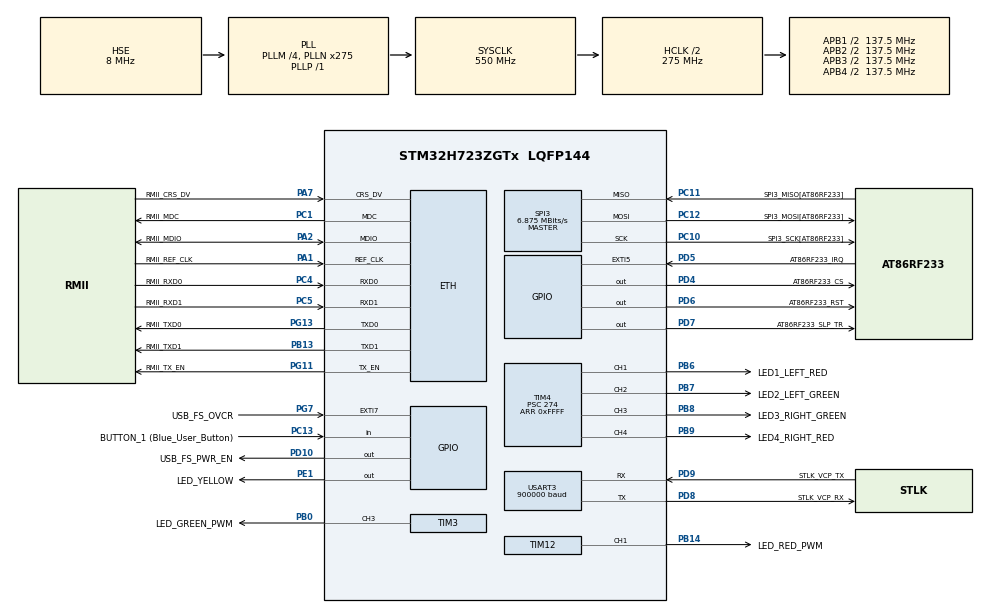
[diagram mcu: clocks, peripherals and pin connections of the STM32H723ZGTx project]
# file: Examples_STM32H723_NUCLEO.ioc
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CORTEX_M7.AccessPermission-Cortex_Memory_Protection_Unit_Region0_Settings=MPU_REGION_FULL_ACCESS
CORTEX_M7.AccessPermission-Cortex_Memory_Protection_Unit_Region1_Settings=MPU_REGION_FULL_ACCESS
CORTEX_M7.BaseAddress-Cortex_Memory_Protection_Unit_Region0_Settings=0x30000000
CORTEX_M7.BaseAddress-Cortex_Memory_Protection_Unit_Region1_Settings=0x24000000
CORTEX_M7.CPU_DCache=Enabled
CORTEX_M7.CPU_ICache=Enabled
CORTEX_M7.DisableExec-Cortex_Memory_Protection_Unit_Region0_Settings=MPU_INSTRUCTION_ACCESS_DISABLE
CORTEX_M7.DisableExec-Cortex_Memory_Protection_Unit_Region1_Settings=MPU_INSTRUCTION_ACCESS_DISABLE
CORTEX_M7.Enable-Cortex_Memory_Protection_Unit_Region0_Settings=MPU_REGION_ENABLE
CORTEX_M7.Enable-Cortex_Memory_Protection_Unit_Region1_Settings=MPU_REGION_ENABLE
CORTEX_M7.MPU_Control=MPU_PRIVILEGED_DEFAULT
CORTEX_M7.Size-Cortex_Memory_Protection_Unit_Region0_Settings=MPU_REGION_SIZE_32KB
CORTEX_M7.Size-Cortex_Memory_Protection_Unit_Region1_Settings=MPU_REGION_SIZE_512KB
CORTEX_M7.TypeExtField-Cortex_Memory_Protection_Unit_Region0_Settings=MPU_TEX_LEVEL1
CORTEX_M7.TypeExtField-Cortex_Memory_Protection_Unit_Region1_Settings=MPU_TEX_LEVEL1
CORTEX_M7.default_mode_Activation=0
Dma.Request0=USART3_RX
Dma.Request1=USART3_TX
Dma.Request2=TIM3_UP
Dma.TIM3_UP.2.Direction=DMA_PERIPH_TO_MEMORY
Dma.TIM3_UP.2.EventEnable=DISABLE
Dma.TIM3_UP.2.FIFOMode=DMA_FIFOMODE_DISABLE
Dma.TIM3_UP.2.Instance=DMA1_Stream2
Dma.TIM3_UP.2.MemDataAlignment=DMA_MDATAALIGN_WORD
Dma.TIM3_UP.2.MemInc=DMA_MINC_ENABLE
Dma.TIM3_UP.2.Mode=DMA_CIRCULAR
Dma.TIM3_UP.2.PeriphDataAlignment=DMA_PDATAALIGN_WORD
Dma.TIM3_UP.2.PeriphInc=DMA_PINC_DISABLE
Dma.TIM3_UP.2.Polarity=HAL_DMAMUX_REQ_GEN_RISING
Dma.TIM3_UP.2.Priority=DMA_PRIORITY_LOW
Dma.TIM3_UP.2.RequestNumber=1
Dma.TIM3_UP.2.SignalID=NONE
Dma.TIM3_UP.2.SyncEnable=DISABLE
Dma.TIM3_UP.2.SyncPolarity=HAL_DMAMUX_SYNC_NO_EVENT
Dma.TIM3_UP.2.SyncRequestNumber=1
Dma.TIM3_UP.2.SyncSignalID=NONE
Dma.USART3_RX.0.Direction=DMA_PERIPH_TO_MEMORY
Dma.USART3_RX.0.EventEnable=DISABLE
Dma.USART3_RX.0.FIFOMode=DMA_FIFOMODE_DISABLE
Dma.USART3_RX.0.Instance=DMA1_Stream0
Dma.USART3_RX.0.MemDataAlignment=DMA_MDATAALIGN_BYTE
Dma.USART3_RX.0.MemInc=DMA_MINC_ENABLE
Dma.USART3_RX.0.Mode=DMA_CIRCULAR
Dma.USART3_RX.0.PeriphDataAlignment=DMA_PDATAALIGN_BYTE
Dma.USART3_RX.0.PeriphInc=DMA_PINC_DISABLE
Dma.USART3_RX.0.Polarity=HAL_DMAMUX_REQ_GEN_RISING
Dma.USART3_RX.0.Priority=DMA_PRIORITY_LOW
Dma.USART3_RX.0.RequestNumber=1
Dma.USART3_RX.0.SignalID=NONE
Dma.USART3_RX.0.SyncEnable=DISABLE
Dma.USART3_RX.0.SyncPolarity=HAL_DMAMUX_SYNC_NO_EVENT
Dma.USART3_RX.0.SyncRequestNumber=1
Dma.USART3_RX.0.SyncSignalID=NONE
Dma.USART3_TX.1.Direction=DMA_MEMORY_TO_PERIPH
Dma.USART3_TX.1.EventEnable=DISABLE
Dma.USART3_TX.1.FIFOMode=DMA_FIFOMODE_DISABLE
Dma.USART3_TX.1.Instance=DMA1_Stream1
Dma.USART3_TX.1.MemDataAlignment=DMA_MDATAALIGN_BYTE
Dma.USART3_TX.1.MemInc=DMA_MINC_ENABLE
Dma.USART3_TX.1.Mode=DMA_NORMAL
Dma.USART3_TX.1.PeriphDataAlignment=DMA_PDATAALIGN_BYTE
Dma.USART3_TX.1.PeriphInc=DMA_PINC_DISABLE
Dma.USART3_TX.1.Polarity=HAL_DMAMUX_REQ_GEN_RISING
Dma.USART3_TX.1.Priority=DMA_PRIORITY_LOW
Dma.USART3_TX.1.RequestNumber=1
Dma.USART3_TX.1.SignalID=NONE
Dma.USART3_TX.1.SyncEnable=DISABLE
Dma.USART3_TX.1.SyncPolarity=HAL_DMAMUX_SYNC_NO_EVENT
Dma.USART3_TX.1.SyncRequestNumber=1
Dma.USART3_TX.1.SyncSignalID=NONE
ETH.ETH_RX_DESC_CNT=16
ETH.ETH_TX_DESC_CNT=16
ETH.MACAddr=98\:27\:82\:E0\:1F\:DC
ETH.MediaInterface=HAL_ETH_RMII_MODE
ETH.RxDescAddress=0x30000000
ETH.TxDescAddress=0x30000000
FREERTOS.HEAP_NUMBER=4
FREERTOS.INCLUDE_xEventGroupSetBitFromISR=1
FREERTOS.Tasks01=defaultTask,24,512,StartDefaultTask,Default,NULL,Dynamic,NULL,NULL
FREERTOS.configENABLE_FPU=1
FREERTOS.configTOTAL_HEAP_SIZE=100 * 1024
FREERTOS.configUSE_NEWLIB_REENTRANT=1
FREERTOS.configUSE_TICK_HOOK=1
FREERTOS.copyHeapFile=1
LWIP.BSP.number=1
LWIP.DEFAULT_RAW_RECVMBOX_SIZE=6
LWIP.GATEWAY_ADDRESS=192.168.000.001
LWIP.IP_ADDRESS=192.168.000.010
LWIP.LWIP_BROADCAST_PING=1
LWIP.LWIP_DHCP=0
LWIP.LWIP_DNS=1
LWIP.LWIP_HTTPD=0
LWIP.LWIP_NETIF_LOOPBACK=0
LWIP.LWIP_RAM_HEAP_POINTER=0x30000000
LWIP.LWIP_SMTP=0
LWIP.LWIP_SNTP=1
LWIP.LWIP_SOCKET_SELECT=1
LWIP.LWIP_SO_RCVTIMEO=1
LWIP.LWIP_SO_SNDRCVTIMEO_NONSTANDARD=1
LWIP.LWIP_SO_SNDTIMEO=1
LWIP.LWIP_TCP_KEEPALIVE=1
LWIP.LWIP_TFTP=0
LWIP.MEMP_NUM_PBUF=32
LWIP.MEMP_NUM_TCP_PCB_LISTEN=8
LWIP.MEMP_NUM_UDP_PCB=8
LWIP.MEM_SIZE=30 * 1024
LWIP.NETMASK_ADDRESS=255.255.255.000
LWIP.TCPIP_THREAD_PRIO=25
LWIP.TCPIP_THREAD_STACKSIZE=2 * 1024
LWIP.Version=v2.1.2_Cube
LWIP0.BSP.STBoard=false
LWIP0.BSP.api=BSP_COMPONENT_DRIVER
LWIP0.BSP.component=LAN8742
LWIP0.BSP.instance=LAN8742
LWIP0.BSP.name=Driver_PHY
LWIP0.BSP.semaphore=S_LAN8742
LWIP0.BSP.solution=LAN8742
Mcu.Family=STM32H7
Mcu.Name=STM32H723ZGTx
Mcu.Package=LQFP144
NVIC.DMA1_Stream0_IRQn=true\:5\:0\:false\:false\:true\:true\:false\:true\:true
NVIC.DMA1_Stream1_IRQn=true\:5\:0\:false\:false\:true\:true\:false\:true\:true
NVIC.DMA1_Stream2_IRQn=true\:5\:0\:false\:false\:true\:true\:false\:true\:true
NVIC.ETH_IRQn=true\:5\:0\:true\:false\:true\:true\:true\:true\:true
NVIC.EXTI9_5_IRQn=true\:2\:0\:true\:false\:true\:false\:true\:true\:true
NVIC.PriorityGroup=NVIC_PRIORITYGROUP_4
NVIC.TIM4_IRQn=true\:5\:0\:false\:false\:true\:true\:true\:false\:true
NVIC.TIM5_IRQn=true\:5\:0\:false\:false\:true\:true\:true\:false\:true
NVIC.TIM6_DAC_IRQn=true\:15\:0\:false\:false\:true\:false\:false\:true\:true
NVIC.TimeBase=TIM6_DAC_IRQn
NVIC.TimeBaseIP=TIM6
NVIC.USART3_IRQn=true\:5\:0\:false\:false\:true\:true\:true\:false\:true
PA1.GPIO_Label=RMII_REF_CLK
PA1.GPIO_Speed=GPIO_SPEED_FREQ_VERY_HIGH
PA1.Mode=RMII
PA1.Signal=ETH_REF_CLK
PA10.GPIO_Label=USB_FS_ID
PA10.Signal=USB_OTG_HS_ID
PA13(JTMS/SWDIO).GPIO_Label=SWDIO
PA13(JTMS/SWDIO).Mode=Trace_Asynchronous_SW
PA13(JTMS/SWDIO).Signal=DEBUG_JTMS-SWDIO
PA14(JTCK/SWCLK).GPIO_Label=SWCLK
PA14(JTCK/SWCLK).Mode=Trace_Asynchronous_SW
PA14(JTCK/SWCLK).Signal=DEBUG_JTCK-SWCLK
PA2.GPIO_Label=RMII_MDIO
PA2.GPIO_Speed=GPIO_SPEED_FREQ_VERY_HIGH
PA2.Mode=RMII
PA2.Signal=ETH_MDIO
PA7.GPIO_Label=RMII_CRS_DV
PA7.GPIO_Speed=GPIO_SPEED_FREQ_VERY_HIGH
PA7.Mode=RMII
PA7.Signal=ETH_CRS_DV
PA9.GPIO_Label=USB_FS_VBUS
PA9.Signal=USB_OTG_HS_VBUS
PB0.GPIO_Label=LED_GREEN_PWM
PB0.Signal=S_TIM3_CH3
PB13.GPIO_Label=RMII_TXD1
PB13.GPIO_Speed=GPIO_SPEED_FREQ_VERY_HIGH
PB13.Mode=RMII
PB13.Signal=ETH_TXD1
PB14.GPIO_Label=LED_RED_PWM
PB14.Signal=S_TIM12_CH1
PB3(JTDO/TRACESWO).GPIO_Label=SWO
PB3(JTDO/TRACESWO).Mode=Trace_Asynchronous_SW
PB3(JTDO/TRACESWO).Signal=DEBUG_JTDO-SWO
PB6.GPIO_Label=LED1_LEFT_RED
PB6.Signal=S_TIM4_CH1
PB7.GPIO_Label=LED2_LEFT_GREEN
PB7.Signal=S_TIM4_CH2
PB8.GPIO_Label=LED3_RIGHT_GREEN
PB8.Signal=S_TIM4_CH3
PB9.GPIO_Label=LED4_RIGHT_RED
PB9.Signal=S_TIM4_CH4
PC1.GPIO_Label=RMII_MDC
PC1.GPIO_Speed=GPIO_SPEED_FREQ_LOW
PC1.Mode=RMII
PC1.Signal=ETH_MDC
PC10.GPIO_Label=SPI3_SCK[AT86RF233]
PC10.GPIO_PuPd=GPIO_PULLDOWN
PC10.GPIO_Speed=GPIO_SPEED_FREQ_VERY_HIGH
PC10.Mode=Full_Duplex_Master
PC10.Signal=SPI3_SCK
PC11.GPIO_Label=SPI3_MISO[AT86RF233]
PC11.GPIO_Speed=GPIO_SPEED_FREQ_VERY_HIGH
PC11.Mode=Full_Duplex_Master
PC11.Signal=SPI3_MISO
PC12.GPIO_Label=SPI3_MOSI[AT86RF233]
PC12.GPIO_Speed=GPIO_SPEED_FREQ_VERY_HIGH
PC12.Mode=Full_Duplex_Master
PC12.Signal=SPI3_MOSI
PC13.GPIO_Label=BUTTON_1 (Blue_User_Button)
PC13.Signal=GPIO_Input
PC14-OSC32_IN.Mode=LSE-External-Oscillator
PC14-OSC32_IN.Signal=RCC_OSC32_IN
PC15-OSC32_OUT.Mode=LSE-External-Oscillator
PC15-OSC32_OUT.Signal=RCC_OSC32_OUT
PC4.GPIO_Label=RMII_RXD0
PC4.GPIO_Speed=GPIO_SPEED_FREQ_VERY_HIGH
PC4.Mode=RMII
PC4.Signal=ETH_RXD0
PC5.GPIO_Label=RMII_RXD1
PC5.GPIO_Speed=GPIO_SPEED_FREQ_VERY_HIGH
PC5.Mode=RMII
PC5.Signal=ETH_RXD1
PD10.GPIO_Label=USB_FS_PWR_EN
PD10.Signal=GPIO_Output
PD4.GPIO_Label=AT86RF233_CS
PD4.GPIO_Speed=GPIO_SPEED_FREQ_HIGH
PD4.PinState=GPIO_PIN_SET
PD4.Signal=GPIO_Output
PD5.GPIO_Label=AT86RF233_IRQ
PD5.Signal=GPXTI5
PD6.GPIO_Label=AT86RF233_RST
PD6.Signal=GPIO_Output
PD7.GPIO_Label=AT86RF233_SLP_TR
PD7.Signal=GPIO_Output
PD8.GPIO_Label=STLK_VCP_RX
PD8.GPIO_Speed=GPIO_SPEED_FREQ_HIGH
PD8.Mode=Asynchronous
PD8.Signal=USART3_TX
PD9.GPIO_Label=STLK_VCP_TX
PD9.GPIO_Speed=GPIO_SPEED_FREQ_HIGH
PD9.Mode=Asynchronous
PD9.Signal=USART3_RX
PE1.GPIO_Label=LED_YELLOW
PE1.Signal=GPIO_Output
PG11.GPIO_Label=RMII_TX_EN
PG11.GPIO_Speed=GPIO_SPEED_FREQ_VERY_HIGH
PG11.Mode=RMII
PG11.Signal=ETH_TX_EN
PG13.GPIO_Label=RMII_TXD0
PG13.GPIO_Speed=GPIO_SPEED_FREQ_VERY_HIGH
PG13.Mode=RMII
PG13.Signal=ETH_TXD0
PG7.GPIO_Label=USB_FS_OVCR
PG7.Signal=GPXTI7
PH0-OSC_IN.GPIO_Label=MCO
PH0-OSC_IN.Mode=HSE-External-Clock-Source
PH0-OSC_IN.Signal=RCC_OSC_IN
PH1-OSC_OUT.Signal=RCC_OSC_OUT
ProjectManager.HeapSize=0x1000
ProjectManager.StackSize=0x1000
ProjectManager.TargetToolchain=STM32CubeIDE
RCC.ADCFreq_Value=250000000
RCC.APB1Freq_Value=137500000
RCC.APB2Freq_Value=137500000
RCC.APB3Freq_Value=137500000
RCC.APB4Freq_Value=137500000
RCC.CortexFreq_Value=550000000
RCC.D1PPRE=RCC_APB3_DIV2
RCC.D2PPRE1=RCC_APB1_DIV2
RCC.D2PPRE2=RCC_APB2_DIV2
RCC.D3PPRE=RCC_APB4_DIV2
RCC.DIVM1=4
RCC.DIVM2=2
RCC.DIVM3=20
RCC.DIVN1=275
RCC.DIVN2=125
RCC.DIVN3=120
RCC.DIVP1=1
RCC.DIVQ1=5
RCC.DIVQ2=5
RCC.DIVR1=5
RCC.HCLKFreq_Value=275000000
RCC.HPRE=RCC_HCLK_DIV2
RCC.HSE_VALUE=8000000
RCC.PLL2FRACN=0
RCC.PLL3FRACN=0
RCC.PLLFRACN=0
RCC.PLLSourceVirtual=RCC_PLLSOURCE_HSE
RCC.RNGCLockSelection=RCC_RNGCLKSOURCE_PLL
RCC.SYSCLKFreq_VALUE=550000000
RCC.SYSCLKSource=RCC_SYSCLKSOURCE_PLLCLK
RCC.USART234578CLockSelection=RCC_USART234578CLKSOURCE_PLL2
RCC.USBCLockSelection=RCC_USBCLKSOURCE_HSI48
RCC.USBFreq_Value=48000000
SH.S_TIM12_CH1.0=TIM12_CH1,PWM Generation1 CH1
SH.S_TIM3_CH3.0=TIM3_CH3,PWM Generation3 CH3
SH.S_TIM4_CH1.0=TIM4_CH1,PWM Generation1 CH1
SH.S_TIM4_CH2.0=TIM4_CH2,PWM Generation2 CH2
SH.S_TIM4_CH3.0=TIM4_CH3,PWM Generation3 CH3
SH.S_TIM4_CH4.0=TIM4_CH4,PWM Generation4 CH4
SPI3.BaudRatePrescaler=SPI_BAUDRATEPRESCALER_16
SPI3.CalculateBaudRate=6.875 MBits/s
SPI3.DataSize=SPI_DATASIZE_8BIT
SPI3.Direction=SPI_DIRECTION_2LINES
SPI3.Mode=SPI_MODE_MASTER
SPI3.VirtualType=VM_MASTER
TIM12.Channel-PWM\ Generation1\ CH1=TIM_CHANNEL_1
TIM12.Period=0xFFFF
TIM12.Prescaler=83
TIM2.Prescaler=274
TIM3.Channel-PWM\ Generation3\ CH3=TIM_CHANNEL_3
TIM3.Prescaler=83
TIM3.TIM_MasterOutputTrigger=TIM_TRGO_UPDATE
TIM4.Channel-PWM\ Generation1\ CH1=TIM_CHANNEL_1
TIM4.Channel-PWM\ Generation2\ CH2=TIM_CHANNEL_2
TIM4.Channel-PWM\ Generation3\ CH3=TIM_CHANNEL_3
TIM4.Channel-PWM\ Generation4\ CH4=TIM_CHANNEL_4
TIM4.Period=0xFFFF
TIM4.Prescaler=274
TIM4.TIM_MasterOutputTrigger=TIM_TRGO_UPDATE
TIM5.Prescaler=274
TIM5.TIM_MasterOutputTrigger=TIM_TRGO_UPDATE
USART3.BaudRate=900000
USART3.VirtualMode-Asynchronous=VM_ASYNC
VP_CRC_VS_CRC.Mode=CRC_Activate
VP_FREERTOS_VS_CMSIS_V2.Mode=CMSIS_V2
VP_LWIP_VS_Enabled.Mode=Enabled
VP_RNG_VS_RNG.Mode=RNG_Activate
VP_SYS_VS_tim6.Mode=TIM6
VP_TIM12_VS_ClockSourceINT.Mode=Internal
VP_TIM2_VS_ClockSourceINT.Mode=Internal
VP_TIM3_VS_ClockSourceINT.Mode=Internal
VP_TIM4_VS_ClockSourceINT.Mode=Internal
VP_TIM5_VS_ClockSourceINT.Mode=Internal
VP_wolfSSL.I-CUBE-wolfSSL_VS_wolfSSLJjwolfSSL_5.5.3_5.5.3.Mode=wolfSSLJjwolfSSL
board=NUCLEO-H723ZG
wolfSSL.I-CUBE-wolfSSL.5.5.3.WOLF_CONF_AESGCM=0
wolfSSL.I-CUBE-wolfSSL.5.5.3.WOLF_CONF_BASE64_ENCODE=1
wolfSSL.I-CUBE-wolfSSL.5.5.3.WOLF_CONF_ECC=0
wolfSSL.I-CUBE-wolfSSL.5.5.3.WOLF_CONF_EDCURVE25519=1
wolfSSL.I-CUBE-wolfSSL.5.5.3.WOLF_CONF_KEEP_PEER_CERT=1
wolfSSL.I-CUBE-wolfSSL.5.5.3.WOLF_CONF_OPENSSL_EXTRA=0
wolfSSL.I-CUBE-wolfSSL.5.5.3.WOLF_CONF_PQM4=0
wolfSSL.I-CUBE-wolfSSL.5.5.3.WOLF_CONF_PSK=1
wolfSSL.I-CUBE-wolfSSL.5.5.3.WOLF_CONF_PWDBASED=1
wolfSSL.I-CUBE-wolfSSL.5.5.3.WOLF_CONF_RTOS=2
wolfSSL.I-CUBE-wolfSSL.5.5.3.WOLF_CONF_TLS13=0
wolfSSL.I-CUBE-wolfSSL.5.5.3.wolfSSLCcwolfSSLJjwolfCryptJjCore=true
wolfSSL.I-CUBE-wolfSSL.5.5.3.wolfSSLCcwolfSSLJjwolfSSLJjCore=true

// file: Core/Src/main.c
/* USER CODE BEGIN Header */
/**
  ******************************************************************************
  * @file           : main.c
  * @brief          : Main program body
  ******************************************************************************
  * @attention
  *
  * Copyright (c) 2023 STMicroelectronics.
  * All rights reserved.
  *
  * This software is licensed under terms that can be found in the LICENSE file
  * in the root directory of this software component.
  * If no LICENSE file comes with this software, it is provided AS-IS.
  *
  ******************************************************************************
  */
/* USER CODE END Header */
#include "main.h"
#include "cmsis_os.h"
#include "crc.h"
#include "lwip.h"
#include "rng.h"
#include "spi.h"
#include "tim.h"
#include "usart.h"
#include "gpio.h"

/* USER CODE BEGIN Includes */
#include "Components.h"
#include "dma.h"
/* USER CODE END Includes */

/* USER CODE BEGIN PV */
//==============================================================================
extern REG_TIM_T* Timer2;
REG_SPI_T* RF_SPI = (REG_SPI_T*)SPI3;
//==============================================================================
/* USER CODE END PV */

void SystemClock_Config(void);
static void MPU_Config(void);
void MX_FREERTOS_Init(void);

/* USER CODE BEGIN 0 */
//==============================================================================

//override default
uint32_t HAL_GetTick()
{
	return Timer2->Counter / 1000;
}
//==============================================================================
/* USER CODE END 0 */

int main(void)
{

  /* MPU Configuration--------------------------------------------------------*/
  MPU_Config();

  /* Enable I-Cache---------------------------------------------------------*/
  SCB_EnableICache();

  /* Enable D-Cache---------------------------------------------------------*/
  SCB_EnableDCache();

  /* MCU Configuration--------------------------------------------------------*/

  /* Reset of all peripherals, Initializes the Flash interface and the Systick. */
  HAL_Init();

  /* Configure the system clock */
  SystemClock_Config();

  /* USER CODE BEGIN SysInit */
  MX_DMA_Init();
  /* USER CODE END SysInit */

  /* Initialize all configured peripherals */
  MX_GPIO_Init();
  MX_USART3_UART_Init();
  MX_CRC_Init();
  MX_RNG_Init();
  MX_SPI3_Init();
  MX_TIM12_Init();
  MX_TIM2_Init();
  MX_TIM3_Init();
  MX_TIM4_Init();
  MX_TIM5_Init();
  /* USER CODE BEGIN 2 */

  Timer2->Control1.CounterEnable = true;

  ComponentsInit(main);
  /* USER CODE END 2 */

  /* Init scheduler */
  osKernelInitialize();  /* Call init function for freertos objects (in freertos.c) */
  MX_FREERTOS_Init();

  /* Start scheduler */
  osKernelStart();

  /* We should never get here as control is now taken by the scheduler */
  /* Infinite loop */
  while (1)
  {

  }
}

void SystemClock_Config(void)
{
  RCC_OscInitTypeDef RCC_OscInitStruct = {0};
  RCC_ClkInitTypeDef RCC_ClkInitStruct = {0};

  /** Supply configuration update enable
  */
  HAL_PWREx_ConfigSupply(PWR_LDO_SUPPLY);

  /** Configure the main internal regulator output voltage
  */
  __HAL_PWR_VOLTAGESCALING_CONFIG(PWR_REGULATOR_VOLTAGE_SCALE0);

  while(!__HAL_PWR_GET_FLAG(PWR_FLAG_VOSRDY)) {}

  /** Macro to configure the PLL clock source
  */
  __HAL_RCC_PLL_PLLSOURCE_CONFIG(RCC_PLLSOURCE_HSE);

  /** Initializes the RCC Oscillators according to the specified parameters
  * in the RCC_OscInitTypeDef structure.
  */
  RCC_OscInitStruct.OscillatorType = RCC_OSCILLATORTYPE_HSE;
  RCC_OscInitStruct.HSEState = RCC_HSE_BYPASS;
  RCC_OscInitStruct.PLL.PLLState = RCC_PLL_ON;
  RCC_OscInitStruct.PLL.PLLSource = RCC_PLLSOURCE_HSE;
  RCC_OscInitStruct.PLL.PLLM = 4;
  RCC_OscInitStruct.PLL.PLLN = 275;
  RCC_OscInitStruct.PLL.PLLP = 1;
  RCC_OscInitStruct.PLL.PLLQ = 5;
  RCC_OscInitStruct.PLL.PLLR = 5;
  RCC_OscInitStruct.PLL.PLLRGE = RCC_PLL1VCIRANGE_1;
  RCC_OscInitStruct.PLL.PLLVCOSEL = RCC_PLL1VCOWIDE;
  RCC_OscInitStruct.PLL.PLLFRACN = 0;
  if (HAL_RCC_OscConfig(&RCC_OscInitStruct) != HAL_OK)
  {
    Error_Handler();
  }

  /** Initializes the CPU, AHB and APB buses clocks
  */
  RCC_ClkInitStruct.ClockType = RCC_CLOCKTYPE_HCLK|RCC_CLOCKTYPE_SYSCLK
                              |RCC_CLOCKTYPE_PCLK1|RCC_CLOCKTYPE_PCLK2
                              |RCC_CLOCKTYPE_D3PCLK1|RCC_CLOCKTYPE_D1PCLK1;
  RCC_ClkInitStruct.SYSCLKSource = RCC_SYSCLKSOURCE_PLLCLK;
  RCC_ClkInitStruct.SYSCLKDivider = RCC_SYSCLK_DIV1;
  RCC_ClkInitStruct.AHBCLKDivider = RCC_HCLK_DIV2;
  RCC_ClkInitStruct.APB3CLKDivider = RCC_APB3_DIV2;
  RCC_ClkInitStruct.APB1CLKDivider = RCC_APB1_DIV2;
  RCC_ClkInitStruct.APB2CLKDivider = RCC_APB2_DIV2;
  RCC_ClkInitStruct.APB4CLKDivider = RCC_APB4_DIV2;

  if (HAL_RCC_ClockConfig(&RCC_ClkInitStruct, FLASH_LATENCY_3) != HAL_OK)
  {
    Error_Handler();
  }
}

/* MPU Configuration */

void MPU_Config(void)
{
  MPU_Region_InitTypeDef MPU_InitStruct = {0};

  /* Disables the MPU */
  HAL_MPU_Disable();

  /** Initializes and configures the Region and the memory to be protected
  */
  MPU_InitStruct.Enable = MPU_REGION_ENABLE;
  MPU_InitStruct.Number = MPU_REGION_NUMBER0;
  MPU_InitStruct.BaseAddress = 0x30000000;
  MPU_InitStruct.Size = MPU_REGION_SIZE_32KB;
  MPU_InitStruct.SubRegionDisable = 0x0;
  MPU_InitStruct.TypeExtField = MPU_TEX_LEVEL1;
  MPU_InitStruct.AccessPermission = MPU_REGION_FULL_ACCESS;
  MPU_InitStruct.DisableExec = MPU_INSTRUCTION_ACCESS_DISABLE;
  MPU_InitStruct.IsShareable = MPU_ACCESS_NOT_SHAREABLE;
  MPU_InitStruct.IsCacheable = MPU_ACCESS_NOT_CACHEABLE;
  MPU_InitStruct.IsBufferable = MPU_ACCESS_NOT_BUFFERABLE;

  HAL_MPU_ConfigRegion(&MPU_InitStruct);

  /** Initializes and configures the Region and the memory to be protected
  */
  MPU_InitStruct.Number = MPU_REGION_NUMBER1;
  MPU_InitStruct.BaseAddress = 0x24000000;
  MPU_InitStruct.Size = MPU_REGION_SIZE_512KB;

  HAL_MPU_ConfigRegion(&MPU_InitStruct);

  MPU_InitStruct.Number = MPU_REGION_NUMBER2;
  MPU_InitStruct.BaseAddress = 0x00000000;
  MPU_InitStruct.DisableExec = MPU_INSTRUCTION_ACCESS_ENABLE;
  MPU_InitStruct.IsCacheable = MPU_ACCESS_CACHEABLE;
  MPU_InitStruct.IsShareable = MPU_ACCESS_SHAREABLE;
  MPU_InitStruct.IsBufferable = MPU_ACCESS_BUFFERABLE;
  MPU_InitStruct.Size = MPU_REGION_SIZE_64KB;

  HAL_MPU_ConfigRegion(&MPU_InitStruct);

  MPU_InitStruct.Number = MPU_REGION_NUMBER3;
  MPU_InitStruct.BaseAddress = 0x20000000;
  MPU_InitStruct.Size = MPU_REGION_SIZE_128KB;

  HAL_MPU_ConfigRegion(&MPU_InitStruct);

  /* Enables the MPU */
  HAL_MPU_Enable(MPU_PRIVILEGED_DEFAULT);

}

void HAL_TIM_PeriodElapsedCallback(TIM_HandleTypeDef *htim)
{
  if (htim->Instance == TIM6) {
    HAL_IncTick();
  }
}

void Error_Handler(void)
{
  __disable_irq();
  while (1)
  {
  }
}

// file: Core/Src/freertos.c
/* USER CODE BEGIN Header */
/**
  ******************************************************************************
  * File Name          : freertos.c
  * Description        : Code for freertos applications
  ******************************************************************************
  * @attention
  *
  * Copyright (c) 2023 STMicroelectronics.
  * All rights reserved.
  *
  * This software is licensed under terms that can be found in the LICENSE file
  * in the root directory of this software component.
  * If no LICENSE file comes with this software, it is provided AS-IS.
  *
  ******************************************************************************
  */
/* USER CODE END Header */

#include "FreeRTOS.h"
#include "task.h"
#include "main.h"
#include "cmsis_os.h"

/* USER CODE BEGIN Includes */
#include "Components.h"
/* USER CODE END Includes */

/* USER CODE BEGIN PTD */
#ifdef FREERTOS_TCP_ENABLE
void MX_LWIP_Init(void)
{

}
#endif
/* USER CODE END PTD */

/* USER CODE BEGIN Variables */
//==============================================================================
//variables:

//custom heap definition - the definition of "configAPPLICATION_ALLOCATED_HEAP"
//should be added to the section "right-clicking on a project" => "Properties"
//=> "C/C++ General" => "Paths and Symbols" => "Symbols" of the project
uint8_t ucHeap[configTOTAL_HEAP_SIZE];
//==============================================================================
/* USER CODE END Variables */
/* Definitions for defaultTask */
osThreadId_t defaultTaskHandle;
const osThreadAttr_t defaultTask_attributes = {
  .name = "defaultTask",
  .stack_size = 256 * 4,
  .priority = (osPriority_t) osPriorityNormal,
};

/* USER CODE BEGIN FunctionPrototypes */
extern void HermesComponentInit();

static void MainTask(void *argument);
/* USER CODE END FunctionPrototypes */

void StartDefaultTask(void *argument);

extern void MX_LWIP_Init(void);
void MX_FREERTOS_Init(void); /* (MISRA C 2004 rule 8.1) */

/* Hook prototypes */
void vApplicationTickHook(void);

void MX_FREERTOS_Init(void) {
  /* USER CODE BEGIN Init */

	//override the default task and saving it when the CubeMX project is regenerated
	defaultTaskHandle = osThreadNew(MainTask, NULL, &defaultTask_attributes);

	//end of overrides
	return;
  /* USER CODE END Init */

  /* Create the thread(s) */
  /* creation of defaultTask */
  defaultTaskHandle = osThreadNew(StartDefaultTask, NULL, &defaultTask_attributes);

  /* USER CODE BEGIN RTOS_THREADS */
  /* add threads, ... */
  //HermesComponentInit();
  /* USER CODE END RTOS_THREADS */

}

void StartDefaultTask(void *argument)
{
  /* init code for LWIP */
  MX_LWIP_Init();
  for(;;)
  {
	  osDelay(1);
  }
}

/* USER CODE BEGIN Application */
static void MainTask(void *argument)
{
	//waiting for stabilization (power supply, etc.) of the periphery.
	//reducing the time may lead to initialization errors
	osDelay(pdMS_TO_TICKS(HERMES_PERIPHERAL_STABILIZATION_TIME_MS));

	HermesComponentInit();

	while(true)
	{
		ComponentsHandler();

		osDelay(1);
	}
}
/* USER CODE END Application */
